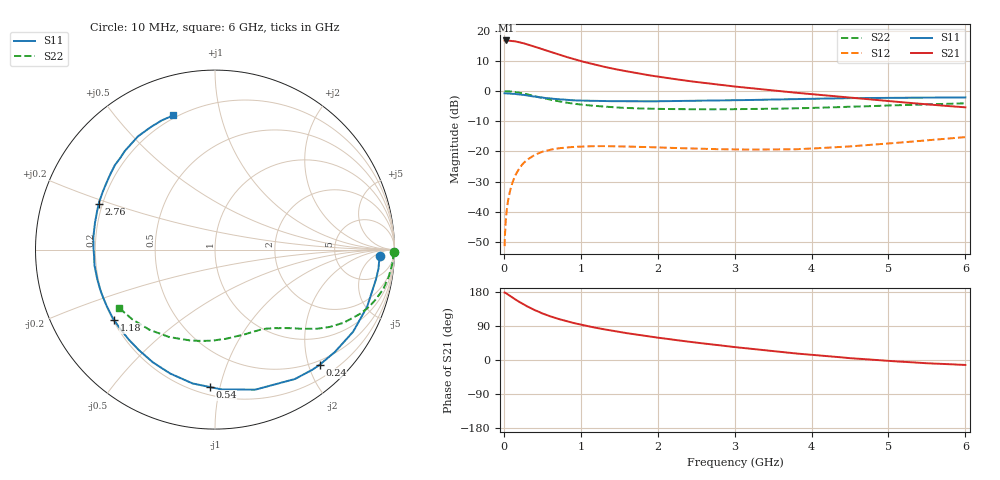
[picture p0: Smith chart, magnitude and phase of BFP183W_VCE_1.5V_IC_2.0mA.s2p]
! Infineon Technologies  Discrete & RF Semiconductors
! BFP183W
! VCE = 1.5 V,  IC =  2.0 mA
! Common Emitter S-Parameters:  Jan 2016
# GHz  S  MA  R  50
!  f  S11  S21  S12  S22
! GHz  MAG  ANG  MAG  ANG  MAG  ANG  MAG  ANG
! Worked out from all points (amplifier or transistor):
!   210 points, 10 MHz to 6 GHz, reference 50 ohm
!   highest |S21| = 16.7 dB at 30 MHz (marker M1)
!   |S21| within 3 dB of that: start of sweep to 514 MHz
!   unconditionally stable (mu >= 1): 2.323 GHz to end of sweep
!   at 185 MHz: K = 0.09, MSG = 21.3 dB, |S12| = -26.3 dB
!   at 1.52 GHz: K = 0.66, MSG = 12.6 dB, |S12| = -18.4 dB
!   at 6 GHz: K = 1.07, MAG = 3.3 dB, |S12| = -15.3 dB
!   S11 on the Smith chart (normalised r, x): 10 MHz: 19, -9; 240 MHz: 0.42, -2.19; 540 MHz: 0.25, -0.93; 1.18 GHz: 0.20, -0.30; 2.76 GHz: 0.19, +0.18; 6 GHz: 0.19, +0.72
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0.01  0.9176 -2.2  6.823 178.0  0.0027 92.5  0.9974 -0.9
0.02  0.9163 -4.2  6.857 177.5  0.0057 83.7  0.9904 -1.8
0.03  0.9173 -6.5  6.872 176.2  0.0085 89.2  0.9944 -2.7
0.08  0.9046 -16.5  6.775 169.3  0.022 79.4  0.9838 -7.1
0.15  0.8953 -30.7  6.637 159.8  0.0403 72.1  0.9631 -13.2
0.2  0.8784 -40.4  6.421 153.4  0.0521 67.1  0.9385 -17.1
0.24  0.8671 -47.7  6.249 148.9  0.0608 63.0  0.9177 -20.0
0.3  0.8474 -58.3  5.949 141.8  0.0722 57.3  0.8826 -24.0
0.4  0.812 -74.0  5.447 131.8  0.0875 49.0  0.8239 -29.7
0.54  0.766 -92.2  4.741 120.1  0.1017 40.0  0.7496 -35.5
0.7  0.7342 -109.9  4.09 108.9  0.1122 32.2  0.681 -40.4
0.8  0.717 -118.9  3.709 103.1  0.116 28.1  0.6468 -43.0
0.9  0.7025 -127.1  3.411 97.8  0.1186 24.8  0.6186 -45.1
1.02  0.6925 -135.1  3.079 92.5  0.1206 21.5  0.5935 -47.5
1.18  0.6855 -145.1  2.741 85.7  0.1223 17.9  0.5682 -50.4
1.6  0.6767 -165.1  2.119 70.8  0.1207 12.2  0.524 -57.2
2.02  0.6767 179.6  1.717 58.5  0.1164 9.8  0.5058 -64.3
2.76  0.6959 158.7  1.288 39.8  0.109 10.8  0.4978 -78.2
3.1  0.706 150.6  1.153 32.0  0.1073 13.0  0.5011 -85.2
4.1  0.7469 130.8  0.866 12.1  0.1133 23.2  0.528 -108.0
5.1  0.7717 116.7  0.665 -3.7  0.1382 30.2  0.5804 -131.4
6  0.783 107.4  0.537 -13.1  0.1726 31.3  0.6266 -149.0
